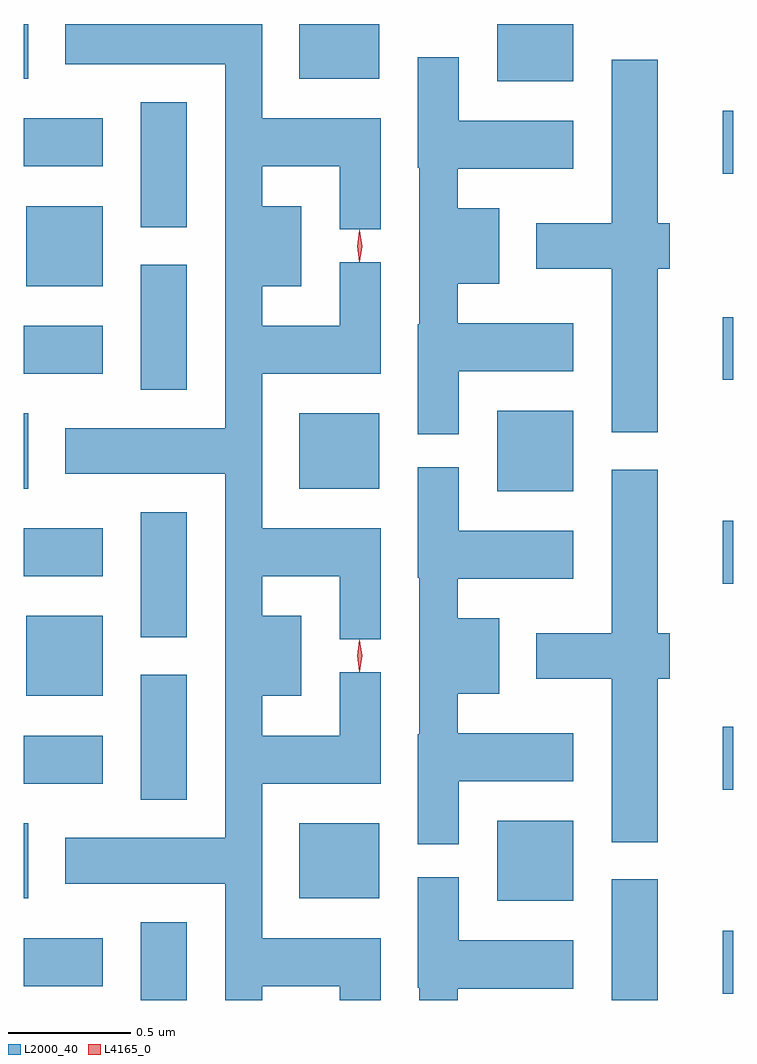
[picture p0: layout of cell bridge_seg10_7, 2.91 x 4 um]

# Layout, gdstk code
import gdstk
lib = gdstk.Library(unit=1e-6, precision=1e-09)
def R(c, l, rs):  # rectangles x0, y0, x1, y1
    for r in rs: c.add(gdstk.rectangle(r[:2], r[2:], *l))
def P(c, l, *ps):  # polygons
    for p in ps: c.add(gdstk.Polygon(p, *l))
L2000_40 = (2000, 40)
L4165_0 = (4165, 0)

bridge_seg10_7 = lib.new_cell('bridge_seg10_7')
R(bridge_seg10_7, L2000_40, [(1911.896,2169.44,1912.084,2169.759), (1913.826,2169.44,1914.014,2169.934), (1914.281,2169.466,1914.323,2169.724), (1911.417,2169.496,1911.739,2169.694), (1913.356,2169.846,1913.669,2170.174), (1911.417,2169.856,1911.434,2170.164), (1912.546,2169.856,1912.874,2170.164), (1911.896,2170.261,1912.084,2170.774), (1914.281,2170.301,1914.323,2170.559), (1911.417,2170.326,1911.739,2170.524), (1911.426,2170.686,1911.739,2171.014), (1911.896,2170.926,1912.084,2171.439), (1914.281,2171.146,1914.323,2171.404), (1911.417,2171.176,1911.739,2171.374), (1913.356,2171.526,1913.669,2171.854), (1911.417,2171.536,1911.434,2171.844), (1912.546,2171.536,1912.874,2171.844), (1911.896,2171.941,1912.084,2172.454), (1914.281,2171.981,1914.323,2172.239), (1911.417,2172.006,1911.739,2172.204), (1911.426,2172.366,1911.739,2172.694), (1911.896,2172.606,1912.084,2173.119), (1914.281,2172.826,1914.323,2173.084), (1911.417,2172.856,1911.739,2173.054), (1913.356,2173.206,1913.669,2173.44), (1911.417,2173.216,1911.434,2173.44), (1912.546,2173.216,1912.874,2173.44), (1913.031,2173.438,1913.199,2173.44)])
P(bridge_seg10_7, L2000_40, [(1912.394,2169.496),(1912.711,2169.496),(1912.711,2169.44),(1912.879,2169.44),(1912.879,2169.694),(1912.394,2169.694),(1912.394,2170.326),(1912.879,2170.326),(1912.879,2170.783),(1912.711,2170.783),(1912.711,2170.524),(1912.394,2170.524),(1912.394,2170.686),(1912.554,2170.686),(1912.554,2171.014),(1912.394,2171.014),(1912.394,2171.176),(1912.711,2171.176),(1912.711,2170.918),(1912.879,2170.918),(1912.879,2171.374),(1912.394,2171.374),(1912.394,2172.006),(1912.879,2172.006),(1912.879,2172.463),(1912.711,2172.463),(1912.711,2172.204),(1912.394,2172.204),(1912.394,2172.366),(1912.554,2172.366),(1912.554,2172.694),(1912.394,2172.694),(1912.394,2172.856),(1912.711,2172.856),(1912.711,2172.598),(1912.879,2172.598),(1912.879,2173.054),(1912.394,2173.054),(1912.394,2173.44),(1911.586,2173.44),(1911.586,2173.276),(1912.241,2173.276),(1912.241,2171.784),(1911.586,2171.784),(1911.586,2171.596),(1912.241,2171.596),(1912.241,2170.104),(1911.586,2170.104),(1911.586,2169.916),(1912.241,2169.916),(1912.241,2169.44),(1912.394,2169.44)],
  [(1913.199,2172.016),(1913.669,2172.016),(1913.669,2172.214),(1913.194,2172.214),(1913.194,2172.376),(1913.364,2172.376),(1913.364,2172.684),(1913.194,2172.684),(1913.194,2172.846),(1913.669,2172.846),(1913.669,2173.044),(1913.199,2173.044),(1913.199,2173.303),(1913.031,2173.303),(1913.031,2172.85),(1913.036,2172.85),(1913.036,2172.21),(1913.031,2172.21),(1913.031,2171.758),(1913.199,2171.758)],
  [(1914.014,2172.436),(1914.064,2172.436),(1914.064,2172.624),(1914.014,2172.624),(1914.014,2173.294),(1913.826,2173.294),(1913.826,2172.624),(1913.516,2172.624),(1913.516,2172.436),(1913.826,2172.436),(1913.826,2171.766),(1914.014,2171.766)],
  [(1913.199,2170.336),(1913.669,2170.336),(1913.669,2170.534),(1913.194,2170.534),(1913.194,2170.696),(1913.364,2170.696),(1913.364,2171.004),(1913.194,2171.004),(1913.194,2171.166),(1913.669,2171.166),(1913.669,2171.364),(1913.199,2171.364),(1913.199,2171.623),(1913.031,2171.623),(1913.031,2171.17),(1913.036,2171.17),(1913.036,2170.53),(1913.031,2170.53),(1913.031,2170.078),(1913.199,2170.078)],
  [(1914.014,2170.756),(1914.064,2170.756),(1914.064,2170.944),(1914.014,2170.944),(1914.014,2171.614),(1913.826,2171.614),(1913.826,2170.944),(1913.516,2170.944),(1913.516,2170.756),(1913.826,2170.756),(1913.826,2170.086),(1914.014,2170.086)],
  [(1913.194,2169.486),(1913.669,2169.486),(1913.669,2169.684),(1913.199,2169.684),(1913.199,2169.943),(1913.031,2169.943),(1913.031,2169.49),(1913.036,2169.49),(1913.036,2169.44),(1913.194,2169.44)])
P(bridge_seg10_7, L4165_0, [(1912.793,2170.784),(1912.792,2170.785),(1912.783,2170.85),(1912.792,2170.915),(1912.793,2170.916),(1912.793,2170.915),(1912.803,2170.85),(1912.793,2170.785)],
  [(1912.793,2172.464),(1912.792,2172.465),(1912.783,2172.53),(1912.792,2172.595),(1912.793,2172.596),(1912.793,2172.595),(1912.803,2172.53),(1912.793,2172.465)])

lib.write_gds('bridge_seg10_7.gds')
